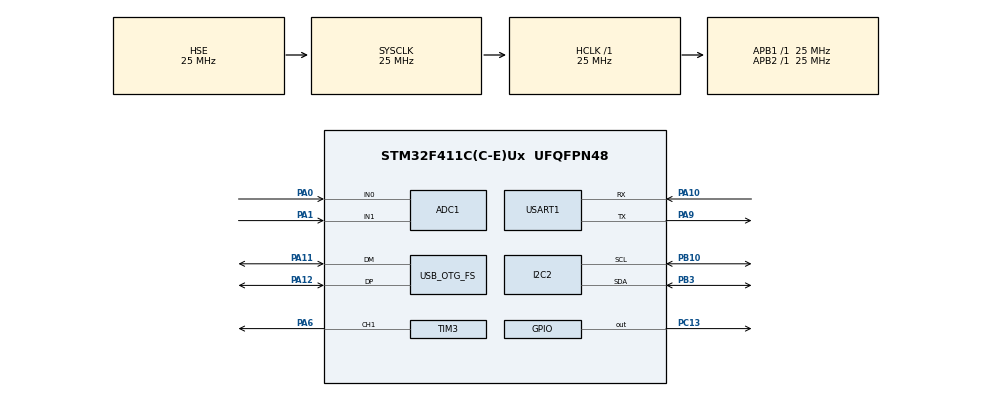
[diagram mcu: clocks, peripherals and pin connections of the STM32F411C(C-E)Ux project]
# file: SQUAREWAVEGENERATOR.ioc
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<<<<<<< HEAD
ADC1.Channel-3\#ChannelRegularConversion=ADC_CHANNEL_0
ADC1.NbrOfConversionFlag=1
ADC1.Rank-3\#ChannelRegularConversion=1
ADC1.SamplingTime-3\#ChannelRegularConversion=ADC_SAMPLETIME_3CYCLES
=======
ADC1.Channel-1\#ChannelRegularConversion=ADC_CHANNEL_1
ADC1.NbrOfConversionFlag=1
ADC1.Rank-1\#ChannelRegularConversion=1
ADC1.SamplingTime-1\#ChannelRegularConversion=ADC_SAMPLETIME_3CYCLES
>>>>>>> ba589f88c5c0d3c41fc62e627c44f500e650f5d9
ADC1.master=1
Mcu.Family=STM32F4
Mcu.Name=STM32F411C(C-E)Ux
Mcu.Package=UFQFPN48
<<<<<<< HEAD
=======
>>>>>>> ba589f88c5c0d3c41fc62e627c44f500e650f5d9
<<<<<<< HEAD
<<<<<<< HEAD
=======
NVIC.ADC_IRQn=true\:0\:0\:false\:false\:true\:true\:true\:true
>>>>>>> ba589f88c5c0d3c41fc62e627c44f500e650f5d9
=======
NVIC.ADC_IRQn=true\:0\:0\:false\:false\:true\:true\:true\:true
>>>>>>> ba589f88c5c0d3c41fc62e627c44f500e650f5d9
NVIC.I2C2_EV_IRQn=true\:0\:0\:false\:false\:true\:true\:true\:true
NVIC.OTG_FS_IRQn=true\:0\:0\:false\:false\:true\:false\:true\:true
NVIC.PriorityGroup=NVIC_PRIORITYGROUP_4
NVIC.TIM3_IRQn=true\:0\:0\:false\:false\:true\:true\:true\:true
NVIC.USART1_IRQn=true\:0\:0\:false\:false\:true\:true\:true\:true
<<<<<<< HEAD
PA0-WKUP.Signal=ADCx_IN0
=======
PA1.Signal=ADCx_IN1
>>>>>>> ba589f88c5c0d3c41fc62e627c44f500e650f5d9
PA10.Mode=Asynchronous
PA10.Signal=USART1_RX
PA11.GPIO_PuPd=GPIO_NOPULL
PA11.Mode=Device_Only
PA11.Signal=USB_OTG_FS_DM
PA12.GPIO_PuPd=GPIO_NOPULL
PA12.Mode=Device_Only
PA12.Signal=USB_OTG_FS_DP
PA13.Mode=Serial_Wire
PA13.Signal=SYS_JTMS-SWDIO
PA14.Mode=Serial_Wire
PA14.Signal=SYS_JTCK-SWCLK
PA6.GPIO_PuPd=GPIO_NOPULL
PA6.GPIO_Speed=GPIO_SPEED_FREQ_LOW
PA6.Signal=S_TIM3_CH1
PA9.Mode=Asynchronous
PA9.Signal=USART1_TX
PB10.Mode=I2C
PB10.Signal=I2C2_SCL
PB3.Mode=I2C
PB3.Signal=I2C2_SDA
PC13-ANTI_TAMP.GPIO_PuPd=GPIO_PULLUP
PC13-ANTI_TAMP.Signal=GPIO_Output
PH0\ -\ OSC_IN.Mode=HSE-External-Oscillator
PH0\ -\ OSC_IN.Signal=RCC_OSC_IN
PH1\ -\ OSC_OUT.Mode=HSE-External-Oscillator
PH1\ -\ OSC_OUT.Signal=RCC_OSC_OUT
ProjectManager.HeapSize=0x200
<<<<<<< HEAD
=======
>>>>>>> ba589f88c5c0d3c41fc62e627c44f500e650f5d9
ProjectManager.StackSize=0x400
ProjectManager.TargetToolchain=STM32CubeIDE
RCC.48MHZClocksFreq_Value=48000000
RCC.AHBFreq_Value=25000000
RCC.APB1Freq_Value=25000000
RCC.APB1TimFreq_Value=25000000
RCC.APB2Freq_Value=25000000
RCC.APB2TimFreq_Value=25000000
RCC.CortexFreq_Value=25000000
RCC.HCLKFreq_Value=25000000
RCC.HSE_VALUE=25000000
RCC.HSI_VALUE=16000000
RCC.LSE_VALUE=32768
RCC.PLLM=15
RCC.PLLN=144
RCC.PLLQ=5
RCC.RCC_TIM_PRescaler_Selection=RCC_TIMPRES_DESACTIVATED
RCC.SYSCLKFreq_VALUE=25000000
RCC.SYSCLKSource=RCC_SYSCLKSOURCE_HSE
RCC.VCOOutputFreq_Value=240000000
<<<<<<< HEAD
SH.ADCx_IN0.0=ADC1_IN0,IN0
=======
SH.ADCx_IN1.0=ADC1_IN1,IN1
>>>>>>> ba589f88c5c0d3c41fc62e627c44f500e650f5d9
SH.S_TIM3_CH1.0=TIM3_CH1,PWM Generation1 CH1
TIM3.Channel-PWM\ Generation1\ CH1=TIM_CHANNEL_1
TIM3.ClockDivision=TIM_CLOCKDIVISION_DIV1
TIM3.OCFastMode_PWM-PWM\ Generation1\ CH1=TIM_OCFAST_DISABLE
TIM3.OCMode_PWM-PWM\ Generation1\ CH1=TIM_OCMODE_PWM1
TIM3.OCPolarity_1=TIM_OCPOLARITY_LOW
TIM3.Period=1-1
TIM3.Prescaler=1-1
USART1.VirtualMode=VM_ASYNC
USB_DEVICE.CLASS_NAME_FS=CDC
USB_DEVICE.VirtualMode=Cdc
USB_DEVICE.VirtualModeFS=Cdc_FS
USB_OTG_FS.VirtualMode=Device_Only
VP_TIM3_VS_ClockSourceINT.Mode=Internal
VP_USB_DEVICE_VS_USB_DEVICE_CDC_FS.Mode=CDC_FS
board=custom

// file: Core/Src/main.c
/* USER CODE BEGIN Header */
/**
 ******************************************************************************
 * @file           : main.c
 * @brief          : Main program body
 ******************************************************************************
 * @attention
 *
 * Copyright (c) 2024 STMicroelectronics.
 * All rights reserved.
 *
 * This software is licensed under terms that can be found in the LICENSE file
 * in the root directory of this software component.
 * If no LICENSE file comes with this software, it is provided AS-IS.
 *
 ******************************************************************************
 */
/* USER CODE END Header */
#include "main.h"
#include "usb_device.h"

/* USER CODE BEGIN Includes */
#include <usbd_def.h>
#include <count2volt.h>
/* USER CODE END Includes */

/* USER CODE BEGIN PD */
#define ARRMAX 65535
#define ADCRES 12
#define ONEVOLT 1066 // Nominal is 1241
#define THREEVOLTS 3174 // Nominal is 3723
//#define FREQMETER // For frequency generation only and measurement.
#define EXERCICIO8
/* USER CODE END PD */

ADC_HandleTypeDef hadc1;

I2C_HandleTypeDef hi2c2;

TIM_HandleTypeDef htim3;

UART_HandleTypeDef huart1;

/* USER CODE BEGIN PV */
HAL_StatusTypeDef RetTimer, RetADC;
GPIO_PinState pinState;
uint8_t buf[2];
int16_t countsDAC, adcValue;
float volts;
char buffer[6];
USBD_SpeedTypeDef usbSpeed = USBD_SPEED_LOW;
USBD_HandleTypeDef hUsb;

/* USER CODE END PV */

void SystemClock_Config(void);
static void MX_GPIO_Init(void);
static void MX_TIM3_Init(void);
static void MX_ADC1_Init(void);
static void MX_I2C2_Init(void);
static void MX_USART1_UART_Init(void);
/* USER CODE BEGIN PFP */
void freqGen(TIM_HandleTypeDef *htim, uint32_t freq);
/* USER CODE END PFP */

int main(void)
{

  /* MCU Configuration--------------------------------------------------------*/

  /* Reset of all peripherals, Initializes the Flash interface and the Systick. */
  HAL_Init();

  /* Configure the system clock */
  SystemClock_Config();

  /* Initialize all configured peripherals */
  MX_GPIO_Init();
  MX_TIM3_Init();
  MX_ADC1_Init();
  MX_I2C2_Init();
  MX_USB_DEVICE_Init();
  MX_USART1_UART_Init();
  /* USER CODE BEGIN 2 */
	freqGen(&htim3, 100); // Frequency in Hz
  /* USER CODE END 2 */

  /* Infinite loop */
  /* USER CODE BEGIN WHILE */
	while (1) {

		#ifdef EXERCICIO8
			pinState = HAL_GPIO_ReadPin(GPIOA, GPIO_PIN_6);
			countsDAC = pinState ? THREEVOLTS : ONEVOLT;
			buf[0] = countsDAC >> 8;
			buf[1] = countsDAC;
			HAL_I2C_Master_Transmit_IT(&hi2c2, (0x60 << 1), buf, sizeof(buf));
		#endif

    /* USER CODE END WHILE */

	}
}

void SystemClock_Config(void)
{
  RCC_OscInitTypeDef RCC_OscInitStruct = {0};
  RCC_ClkInitTypeDef RCC_ClkInitStruct = {0};

  /** Configure the main internal regulator output voltage
  */
  __HAL_RCC_PWR_CLK_ENABLE();
  __HAL_PWR_VOLTAGESCALING_CONFIG(PWR_REGULATOR_VOLTAGE_SCALE1);

  /** Initializes the RCC Oscillators according to the specified parameters
  * in the RCC_OscInitTypeDef structure.
  */
  RCC_OscInitStruct.OscillatorType = RCC_OSCILLATORTYPE_HSE;
  RCC_OscInitStruct.HSEState = RCC_HSE_ON;
  RCC_OscInitStruct.PLL.PLLState = RCC_PLL_ON;
  RCC_OscInitStruct.PLL.PLLSource = RCC_PLLSOURCE_HSE;
  RCC_OscInitStruct.PLL.PLLM = 15;
  RCC_OscInitStruct.PLL.PLLN = 144;
  RCC_OscInitStruct.PLL.PLLP = RCC_PLLP_DIV2;
  RCC_OscInitStruct.PLL.PLLQ = 5;
  if (HAL_RCC_OscConfig(&RCC_OscInitStruct) != HAL_OK)
  {
    Error_Handler();
  }

  /** Initializes the CPU, AHB and APB buses clocks
  */
  RCC_ClkInitStruct.ClockType = RCC_CLOCKTYPE_HCLK|RCC_CLOCKTYPE_SYSCLK
                              |RCC_CLOCKTYPE_PCLK1|RCC_CLOCKTYPE_PCLK2;
  RCC_ClkInitStruct.SYSCLKSource = RCC_SYSCLKSOURCE_HSE;
  RCC_ClkInitStruct.AHBCLKDivider = RCC_SYSCLK_DIV1;
  RCC_ClkInitStruct.APB1CLKDivider = RCC_HCLK_DIV1;
  RCC_ClkInitStruct.APB2CLKDivider = RCC_HCLK_DIV1;

  if (HAL_RCC_ClockConfig(&RCC_ClkInitStruct, FLASH_LATENCY_0) != HAL_OK)
  {
    Error_Handler();
  }
}

static void MX_ADC1_Init(void)
{

  ADC_ChannelConfTypeDef sConfig = {0};

  /** Configure the global features of the ADC (Clock, Resolution, Data Alignment and number of conversion)
  */
  hadc1.Instance = ADC1;
  hadc1.Init.ClockPrescaler = ADC_CLOCK_SYNC_PCLK_DIV2;
  hadc1.Init.Resolution = ADC_RESOLUTION_12B;
  hadc1.Init.ScanConvMode = DISABLE;
  hadc1.Init.ContinuousConvMode = DISABLE;
  hadc1.Init.DiscontinuousConvMode = DISABLE;
  hadc1.Init.ExternalTrigConvEdge = ADC_EXTERNALTRIGCONVEDGE_NONE;
  hadc1.Init.ExternalTrigConv = ADC_SOFTWARE_START;
  hadc1.Init.DataAlign = ADC_DATAALIGN_RIGHT;
  hadc1.Init.NbrOfConversion = 1;
  hadc1.Init.DMAContinuousRequests = DISABLE;
  hadc1.Init.EOCSelection = ADC_EOC_SINGLE_CONV;
  if (HAL_ADC_Init(&hadc1) != HAL_OK)
  {
    Error_Handler();
  }

  /** Configure for the selected ADC regular channel its corresponding rank in the sequencer and its sample time.
  */
<<<<<<< HEAD
  sConfig.Channel = ADC_CHANNEL_0;
=======
  sConfig.Channel = ADC_CHANNEL_1;
>>>>>>> ba589f88c5c0d3c41fc62e627c44f500e650f5d9
  sConfig.Rank = 1;
  sConfig.SamplingTime = ADC_SAMPLETIME_3CYCLES;
  if (HAL_ADC_ConfigChannel(&hadc1, &sConfig) != HAL_OK)
  {
    Error_Handler();
  }

}

static void MX_I2C2_Init(void)
{

  hi2c2.Instance = I2C2;
  hi2c2.Init.ClockSpeed = 100000;
  hi2c2.Init.DutyCycle = I2C_DUTYCYCLE_2;
  hi2c2.Init.OwnAddress1 = 0;
  hi2c2.Init.AddressingMode = I2C_ADDRESSINGMODE_7BIT;
  hi2c2.Init.DualAddressMode = I2C_DUALADDRESS_DISABLE;
  hi2c2.Init.OwnAddress2 = 0;
  hi2c2.Init.GeneralCallMode = I2C_GENERALCALL_DISABLE;
  hi2c2.Init.NoStretchMode = I2C_NOSTRETCH_DISABLE;
  if (HAL_I2C_Init(&hi2c2) != HAL_OK)
  {
    Error_Handler();
  }

}

static void MX_TIM3_Init(void)
{

  TIM_ClockConfigTypeDef sClockSourceConfig = {0};
  TIM_MasterConfigTypeDef sMasterConfig = {0};
  TIM_OC_InitTypeDef sConfigOC = {0};

  htim3.Instance = TIM3;
  htim3.Init.Prescaler = 1-1;
  htim3.Init.CounterMode = TIM_COUNTERMODE_UP;
  htim3.Init.Period = 1-1;
  htim3.Init.ClockDivision = TIM_CLOCKDIVISION_DIV1;
  htim3.Init.AutoReloadPreload = TIM_AUTORELOAD_PRELOAD_DISABLE;
  if (HAL_TIM_Base_Init(&htim3) != HAL_OK)
  {
    Error_Handler();
  }
  sClockSourceConfig.ClockSource = TIM_CLOCKSOURCE_INTERNAL;
  if (HAL_TIM_ConfigClockSource(&htim3, &sClockSourceConfig) != HAL_OK)
  {
    Error_Handler();
  }
  if (HAL_TIM_PWM_Init(&htim3) != HAL_OK)
  {
    Error_Handler();
  }
  sMasterConfig.MasterOutputTrigger = TIM_TRGO_RESET;
  sMasterConfig.MasterSlaveMode = TIM_MASTERSLAVEMODE_DISABLE;
  if (HAL_TIMEx_MasterConfigSynchronization(&htim3, &sMasterConfig) != HAL_OK)
  {
    Error_Handler();
  }
  sConfigOC.OCMode = TIM_OCMODE_PWM1;
  sConfigOC.Pulse = 0;
  sConfigOC.OCPolarity = TIM_OCPOLARITY_LOW;
  sConfigOC.OCFastMode = TIM_OCFAST_DISABLE;
  if (HAL_TIM_PWM_ConfigChannel(&htim3, &sConfigOC, TIM_CHANNEL_1) != HAL_OK)
  {
    Error_Handler();
  }
  HAL_TIM_MspPostInit(&htim3);

}

static void MX_USART1_UART_Init(void)
{

  huart1.Instance = USART1;
  huart1.Init.BaudRate = 115200;
  huart1.Init.WordLength = UART_WORDLENGTH_8B;
  huart1.Init.StopBits = UART_STOPBITS_1;
  huart1.Init.Parity = UART_PARITY_NONE;
  huart1.Init.Mode = UART_MODE_TX_RX;
  huart1.Init.HwFlowCtl = UART_HWCONTROL_NONE;
  huart1.Init.OverSampling = UART_OVERSAMPLING_16;
  if (HAL_UART_Init(&huart1) != HAL_OK)
  {
    Error_Handler();
  }

}

static void MX_GPIO_Init(void)
{
  GPIO_InitTypeDef GPIO_InitStruct = {0};

  /* GPIO Ports Clock Enable */
  __HAL_RCC_GPIOC_CLK_ENABLE();
  __HAL_RCC_GPIOH_CLK_ENABLE();
  __HAL_RCC_GPIOA_CLK_ENABLE();
  __HAL_RCC_GPIOB_CLK_ENABLE();

  /*Configure GPIO pin Output Level */
  HAL_GPIO_WritePin(GPIOC, GPIO_PIN_13, GPIO_PIN_RESET);

  /*Configure GPIO pin : PC13 */
  GPIO_InitStruct.Pin = GPIO_PIN_13;
  GPIO_InitStruct.Mode = GPIO_MODE_OUTPUT_PP;
  GPIO_InitStruct.Pull = GPIO_PULLUP;
  GPIO_InitStruct.Speed = GPIO_SPEED_FREQ_LOW;
  HAL_GPIO_Init(GPIOC, &GPIO_InitStruct);

}

/* USER CODE BEGIN 4 */
void freqGen(TIM_HandleTypeDef *htim, uint32_t freq) {
    if (htim->Instance == TIM3) {
        uint32_t arr, ccr, psc = 1;
        uint32_t timerClock = HAL_RCC_GetPCLK2Freq(); // Alterei o clock do sistema para 25 MHz
        											  // 25 MHz -> HSE (PLL Source)-> HSE (Sys Clock Mux)
                                                      // Assim, o clock da USB vai direto saindo do HSE (PLL Source)
        								              // passando pelos divisores.
        											  // Dessa forma, a frequência gerada ficou correta.
                                                      // O macete está em configurar o clock.
        while (1) {
        	if (timerClock % psc == 0) {
        		arr = timerClock / (freq * psc);
				if (arr <= ARRMAX) {
					psc-=1;
					arr-=1;
					break;
				}
        	}
            psc++;
        }

        ccr = arr / 2;

        htim->Instance->ARR = arr;
        htim->Instance->PSC = psc;
        htim->Instance->CCR1 = ccr;

        #ifdef FREQMETER
            HAL_StatusTypeDef RetTimer = HAL_TIM_PWM_Start_IT(htim, TIM_CHANNEL_1);
            if (RetTimer == HAL_OK) {
                HAL_Delay(200);
                for (uint8_t i = 0; i < 4; i++) {
                    HAL_GPIO_TogglePin(GPIOC, GPIO_PIN_13);
                    HAL_Delay(200);
                }
                HAL_GPIO_WritePin(GPIOC, GPIO_PIN_13, GPIO_PIN_RESET);
            }
        #elif defined(EXERCICIO8)
            usbSpeed = hUsb.dev_speed;
            HAL_StatusTypeDef RetTimer = HAL_TIM_PWM_Start(htim, TIM_CHANNEL_1);
            if (RetTimer == HAL_OK && usbSpeed == USBD_SPEED_HIGH) {
                HAL_Delay(200);
                for (uint8_t i = 0; i < 4; i++) {
                    HAL_GPIO_TogglePin(GPIOC, GPIO_PIN_13);
                    HAL_Delay(200);
                }
                HAL_GPIO_WritePin(GPIOC, GPIO_PIN_13, GPIO_PIN_RESET);
            }
        #endif
    }
}

void HAL_TIM_PWM_PulseFinishedCallback(TIM_HandleTypeDef *htim) {
	if (htim->Instance == TIM3) {
		#ifdef FREQMETER
			pinState = HAL_GPIO_ReadPin(GPIOA, GPIO_PIN_6);
			sprintf(buffer, "%d\n", pinState);
			CDC_Transmit_FS((uint8_t*) buffer, strlen(buffer));
		#endif
	}
}

void HAL_I2C_MasterTxCpltCallback(I2C_HandleTypeDef *hi2c2) {
	if (hi2c2->Instance == I2C2) {
		HAL_ADC_Start_IT(&hadc1);
	}
}

void HAL_ADC_ConvCpltCallback(ADC_HandleTypeDef *hadc) {
	if (hadc->Instance == ADC1) {
		adcValue = HAL_ADC_GetValue(hadc);
		HAL_ADC_Stop_IT(hadc);
		volts = count2volt(ADCRES, adcValue);
		sprintf(buffer, "%1.4f\n\r", volts);
		CDC_Transmit_FS((uint8_t*) buffer, strlen(buffer));
		HAL_UART_Transmit_IT(&huart1, (uint8_t*) buffer, sizeof(buffer));
	}
}

/* USER CODE END 4 */

void Error_Handler(void)
{
	__disable_irq();
	while (1) {
	}
}
